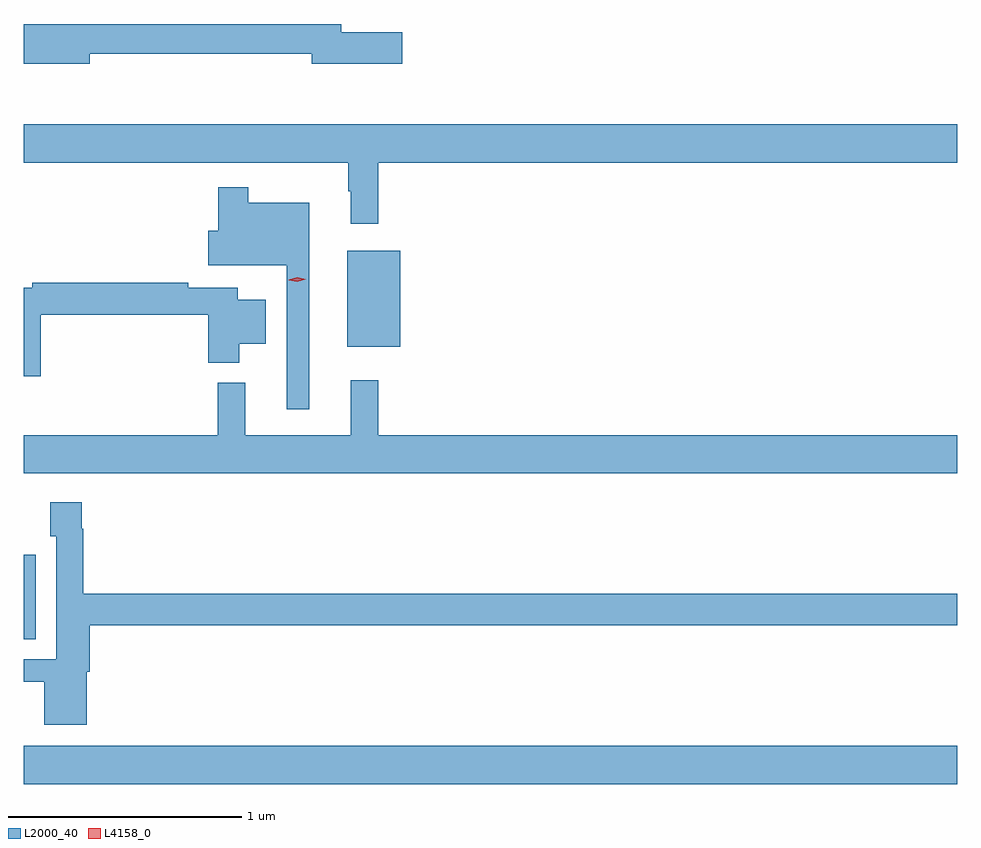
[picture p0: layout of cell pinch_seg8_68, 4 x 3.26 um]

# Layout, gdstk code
import gdstk
lib = gdstk.Library(unit=1e-6, precision=1e-09)
def R(c, l, rs):  # rectangles x0, y0, x1, y1
    for r in rs: c.add(gdstk.rectangle(r[:2], r[2:], *l))
def P(c, l, *ps):  # polygons
    for p in ps: c.add(gdstk.Polygon(p, *l))
L2000_40 = (2000, 40)
L4158_0 = (4158, 0)

pinch_seg8_68 = lib.new_cell('pinch_seg8_68')
R(pinch_seg8_68, L2000_40, [(877.397,1108.508,881.397,1108.672), (877.397,1109.128,877.447,1109.491), (878.783,1110.383,879.01,1110.793)])
P(pinch_seg8_68, L2000_40, [(877.678,1111.638),(878.63,1111.638),(878.63,1111.595),(879.019,1111.595),(879.019,1111.73),(878.758,1111.73),(878.758,1111.766),(877.397,1111.766),(877.397,1111.595),(877.678,1111.595)],
  [(878.915,1111.172),(881.397,1111.172),(881.397,1111.336),(877.397,1111.336),(877.397,1111.172),(878.787,1111.172),(878.787,1111.049),(878.798,1111.049),(878.798,1110.909),(878.915,1110.909)],
  [(878.62,1111),(878.359,1111),(878.359,1111.066),(878.23,1111.066),(878.23,1110.879),(878.186,1110.879),(878.186,1110.731),(878.523,1110.731),(878.523,1110.114),(878.62,1110.114)],
  [(877.469,1110.52),(878.186,1110.52),(878.186,1110.314),(878.32,1110.314),(878.32,1110.395),(878.434,1110.395),(878.434,1110.583),(878.314,1110.583),(878.314,1110.636),(878.102,1110.636),(878.102,1110.656),(877.432,1110.656),(877.432,1110.636),(877.397,1110.636),(877.397,1110.255),(877.469,1110.255)],
  [(881.397,1110.004),(878.915,1110.004),(878.915,1110.238),(878.798,1110.238),(878.798,1110.004),(878.345,1110.004),(878.345,1110.229),(878.227,1110.229),(878.227,1110.004),(877.397,1110.004),(877.397,1109.84),(881.397,1109.84)],
  [(877.666,1108.989),(877.679,1108.989),(877.679,1109.188),(881.397,1109.188),(881.397,1109.324),(877.652,1109.324),(877.652,1109.603),(877.645,1109.603),(877.645,1109.716),(877.51,1109.716),(877.51,1109.571),(877.536,1109.571),(877.536,1109.043),(877.397,1109.043),(877.397,1108.947),(877.484,1108.947),(877.484,1108.763),(877.666,1108.763)])
P(pinch_seg8_68, L4158_0, [(878.569,1110.66),(878.533,1110.668),(878.533,1110.669),(878.533,1110.669),(878.568,1110.68),(878.604,1110.672),(878.604,1110.671),(878.604,1110.671)])

lib.write_gds('pinch_seg8_68.gds')
